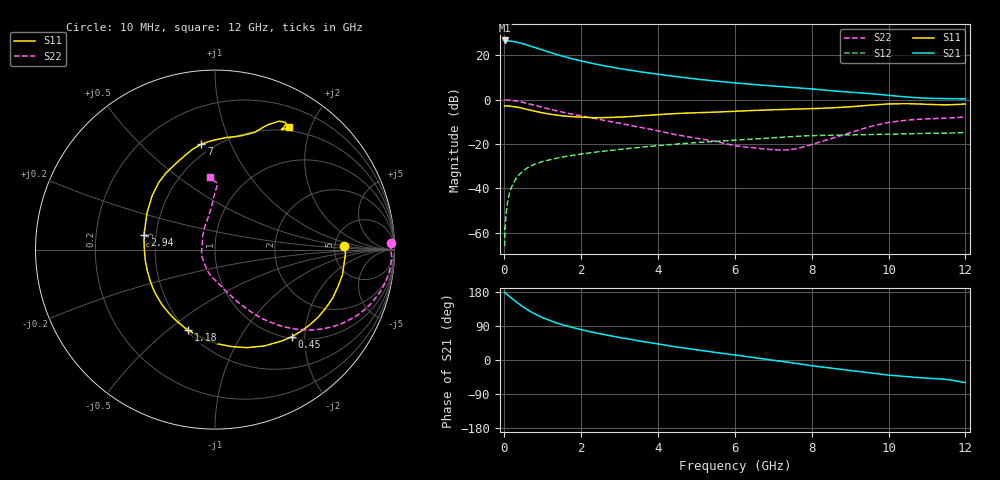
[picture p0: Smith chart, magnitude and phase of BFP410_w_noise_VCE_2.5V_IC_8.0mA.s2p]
! Infineon Technologies  Discrete & RF Semiconductors
! BFP410
! VCE =  2.5 V,  IC =  8.0 mA
! Common Emitter S-Parameters:  Nov 2015
# GHz  S  MA  R  50
!  f  S11  S21  S12  S22
! GHz  MAG  ANG  MAG  ANG  MAG  ANG  MAG  ANG
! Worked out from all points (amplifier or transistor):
!   243 points, 10 MHz to 12 GHz, reference 50 ohm
!   highest |S21| = 26.7 dB at 10 MHz (marker M1)
!   |S21| within 3 dB of that: start of sweep to 763.7 MHz
!   unconditionally stable (mu >= 1): 2.608 GHz to end of sweep
!   at 240 MHz: K = 0.14, MSG = 31.9 dB, |S12| = -37.6 dB
!   at 1.84 GHz: K = 0.78, MSG = 21.5 dB, |S12| = -24.9 dB
!   at 12 GHz: K = 1.05, MAG = 6.2 dB, |S12| = -14.9 dB
!   lowest NFmin = 1.18 dB at 900 MHz
!   S11 on the Smith chart (normalised r, x): 10 MHz: 6.11, +0.45; 450 MHz: 1.03, -1.72; 1.18 GHz: 0.51, -0.59; 2.94 GHz: 0.43, +0.08; 7 GHz: 0.43, +0.78; 12 GHz: 0.45, +1.68
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0.01  0.7199 1.4  21.54 179.2  0.0005 141.8  0.9827 2.0
0.03  0.726 -2.9  21.34 176.9  0.0017 88.6  0.981 -0.9
0.08  0.7231 -8.9  21.18 172.6  0.0045 85.3  0.9834 -4.2
0.165  0.7128 -18.5  20.85 165.5  0.0092 81.2  0.9722 -9.2
0.26  0.6957 -28.8  20.2 157.5  0.0142 76.7  0.9494 -14.4
0.36  0.6712 -39.5  19.41 149.7  0.0192 72.3  0.9166 -19.5
0.45  0.6469 -48.6  18.53 143.0  0.0231 68.7  0.8833 -23.7
0.6  0.6031 -62.9  16.96 132.7  0.0289 63.4  0.8218 -29.9
0.7  0.5745 -72.0  15.93 126.8  0.0323 60.5  0.7811 -33.5
0.9  0.5255 -88.4  13.96 116.3  0.038 55.9  0.7041 -39.5
1.18  0.4719 -108.6  11.65 104.3  0.0444 51.4  0.6105 -46.0
1.4  0.4437 -122.5  10.17 96.5  0.0487 48.8  0.5502 -50.0
1.58  0.4274 -132.6  9.204 91.0  0.052 47.2  0.5091 -52.6
2.02  0.4009 -154.2  7.38 79.7  0.0597 44.0  0.429 -57.9
2.4  0.393 -171.2  6.265 71.1  0.0661 41.6  0.3698 -62.2
2.94  0.4024 168.6  5.122 60.6  0.0748 38.3  0.2998 -68.1
4.1  0.4651 137.6  3.633 40.6  0.0938 31.1  0.1903 -84.0
6.1  0.5509 107.6  2.344 11.8  0.1238 17.2  0.0893 -136.2
7  0.5927 97.3  2.031 -0.7  0.1389 10.6  0.0747 -174.7
8.2  0.6351 81.4  1.68 -17.7  0.1559 -1.6  0.1099 127.0
10.2  0.8047 62.3  1.204 -41.6  0.1673 -16.7  0.3229 89.7
12  0.7961 58.8  1.041 -59.7  0.18 -31.6  0.4066 94.0
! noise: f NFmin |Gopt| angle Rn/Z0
0.45  1.21  0.12  -6  0.18
0.9  1.18  0.11  12  0.17
1.8  1.32  0.04  55  0.17
2.4  1.3  0.01  -67  0.19
5.5  2.19  0.33  -117  0.24
10  3.37  0.67  -50  1.8
